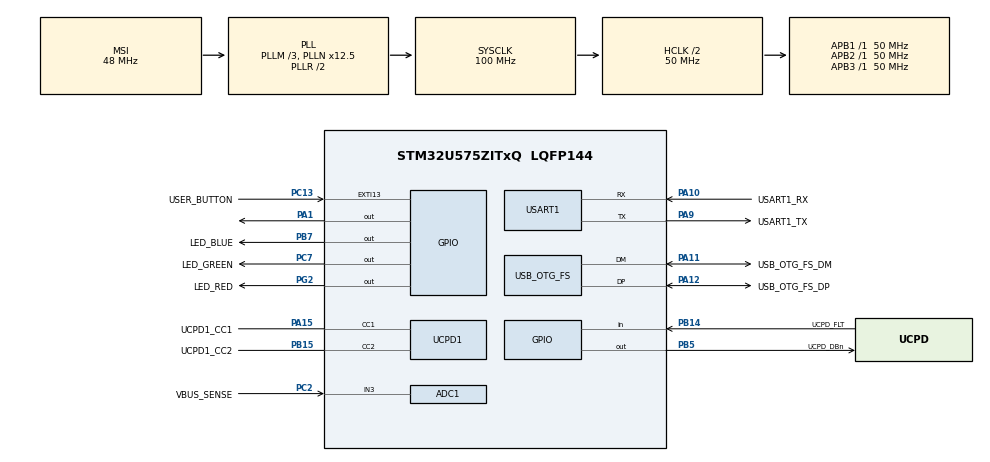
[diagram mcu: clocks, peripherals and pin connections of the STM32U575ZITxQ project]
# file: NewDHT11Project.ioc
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ADC1.NbrOfConversion=1
ADC1.Resolution=ADC_RESOLUTION_14B
ADC1.master=1
CORTEX_M33_NS.userName=CORTEX_M33
Mcu.Family=STM32U5
Mcu.Name=STM32U575ZITxQ
Mcu.Package=LQFP144
NVIC.OTG_FS_IRQn=true\:0\:0\:false\:false\:true\:true\:true\:true
NVIC.PriorityGroup=NVIC_PRIORITYGROUP_3
PA1.Signal=GPIO_Output
PA10.GPIO_Label=USART1_RX
PA10.GPIO_PuPd=GPIO_PULLDOWN
PA10.GPIO_Speed=GPIO_SPEED_FREQ_VERY_HIGH
PA10.Mode=Asynchronous
PA10.Signal=USART1_RX
PA11.GPIO_Label=USB_OTG_FS_DM
PA11.GPIO_Speed=GPIO_SPEED_FREQ_VERY_HIGH
PA11.Mode=Device_Only
PA11.Signal=USB_OTG_FS_DM
PA12.GPIO_Label=USB_OTG_FS_DP
PA12.GPIO_Speed=GPIO_SPEED_FREQ_VERY_HIGH
PA12.Mode=Device_Only
PA12.Signal=USB_OTG_FS_DP
PA13\ (JTMS/SWDIO).Mode=Trace_Asynchronous_SW
PA13\ (JTMS/SWDIO).Signal=DEBUG_JTMS-SWDIO
PA14\ (JTCK/SWCLK).Mode=Trace_Asynchronous_SW
PA14\ (JTCK/SWCLK).Signal=DEBUG_JTCK-SWCLK
PA15\ (JTDI).GPIO_Label=UCPD1_CC1
PA15\ (JTDI).Mode=Sink_AllSignals
PA15\ (JTDI).Signal=UCPD1_CC1
PA9.GPIO_Label=USART1_TX
PA9.GPIO_PuPd=GPIO_PULLDOWN
PA9.GPIO_Speed=GPIO_SPEED_FREQ_VERY_HIGH
PA9.Mode=Asynchronous
PA9.Signal=USART1_TX
PB14.GPIO_Label=UCPD_FLT
PB14.Signal=GPIO_Input
PB15.GPIO_Label=UCPD1_CC2
PB15.Mode=Sink_AllSignals
PB15.Signal=UCPD1_CC2
PB3\ (JTDO/TRACESWO).Mode=Trace_Asynchronous_SW
PB3\ (JTDO/TRACESWO).Signal=DEBUG_JTDO-SWO
PB5.GPIO_Label=UCPD_DBn
PB5.Signal=GPIO_Output
PB7.GPIO_Label=LED_BLUE
PB7.GPIO_ModeDefaultOutputPP=GPIO_MODE_OUTPUT_PP
PB7.GPIO_PuPd=GPIO_PULLUP
PB7.GPIO_Speed=GPIO_SPEED_FREQ_HIGH
PB7.Signal=GPIO_Output
PC13.GPIO_Label=USER_BUTTON
PC13.GPIO_ModeDefaultEXTI=GPIO_MODE_IT_FALLING
PC13.Signal=GPXTI13
PC14-OSC32_IN\ (PC14).Signal=RCC_OSC32_IN
PC15-OSC32_OUT\ (PC15).Signal=RCC_OSC32_OUT
PC2.GPIO_Label=VBUS_SENSE
PC2.Mode=IN3-Single-Ended
PC2.Signal=ADC1_IN3
PC7.GPIO_Label=LED_GREEN
PC7.GPIO_PuPd=GPIO_PULLUP
PC7.GPIO_Speed=GPIO_SPEED_FREQ_HIGH
PC7.Signal=GPIO_Output
PG2.GPIO_Label=LED_RED
PG2.GPIO_ModeDefaultOutputPP=GPIO_MODE_OUTPUT_PP
PG2.GPIO_PuPd=GPIO_PULLUP
PG2.GPIO_Speed=GPIO_SPEED_FREQ_HIGH
PG2.Signal=GPIO_Output
PH0-OSC_IN\ (PH0).Mode=HSE-External-Oscillator
PH0-OSC_IN\ (PH0).Signal=RCC_OSC_IN
PH1-OSC_OUT\ (PH1).Mode=HSE-External-Oscillator
PH1-OSC_OUT\ (PH1).Signal=RCC_OSC_OUT
PWR.PowerMode=PWR_SMPS_SUPPLY
ProjectManager.HeapSize=0x200
ProjectManager.StackSize=0x400
ProjectManager.TargetToolchain=STM32CubeIDE
RCC.ADCFreq_Value=16000000
RCC.AHBCLKDivider=RCC_SYSCLK_DIV2
RCC.AHBFreq_Value=50000000
RCC.APB1Freq_Value=50000000
RCC.APB1TimFreq_Value=50000000
RCC.APB2Freq_Value=50000000
RCC.APB2TimFreq_Value=50000000
RCC.APB3Freq_Value=50000000
RCC.CortexFreq_Value=50000000
RCC.DACCLockSelectionVirtual=RCC_DAC1CLKSOURCE_LSI
RCC.EPOD_VALUE=48000000
RCC.HCLKFreq_Value=50000000
RCC.HSE_VALUE=16000000
RCC.HSI48_VALUE=48000000
RCC.HSI_VALUE=16000000
RCC.LSIDIV_VALUE=32000
RCC.MSIClockRange=RCC_MSIRANGE_0
RCC.MSI_VALUE=48000000
RCC.PLLFRACN=4096
RCC.PLLM=3
RCC.PLLN=12
RCC.SYSCLKFreq_VALUE=100000000
RCC.SYSCLKSource=RCC_SYSCLKSOURCE_PLLCLK
RCC.USBFreq_Value=48000000
RCC.VCOOutputFreq_Value=200000000
TIM1.Prescaler=49
USART1.VirtualMode-Asynchronous=VM_ASYNC
USB_OTG_FS.VirtualMode=Device_Only
VP_ICACHE_VS_ENABLE_ICACHE_MEMORY.Mode=Memoryregions
VP_ICACHE_VS_ICACHE.Mode=DirectMappedCache
VP_LPBAMQUEUE_VS_QUEUE.Mode=QUEUEMODE
VP_LPBAM_VS_SIG1.Mode=SmartRun
VP_LPBAM_VS_SIG4.Mode=LPDMA1
VP_MEMORYMAP_VS_MEMORYMAP.Mode=CurAppReg
VP_PWR_VS_DBSignals.Mode=DisableDeadBatterySignals
VP_PWR_VS_LPOM.Mode=PowerOptimisation
VP_PWR_VS_SECSignals.Mode=Security/Privilege
VP_PWR_Vdda.Mode=isolationVdda
VP_TIM1_VS_ClockSourceINT.Mode=Internal
board=NUCLEO-U575ZI-Q

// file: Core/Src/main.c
/* USER CODE BEGIN Header */
/**
  ******************************************************************************
  * @file           : main.c
  * @brief          : Main program body
  ******************************************************************************
  * @attention
  *
  * Copyright (c) 2024 STMicroelectronics.
  * All rights reserved.
  *
  * This software is licensed under terms that can be found in the LICENSE file
  * in the root directory of this software component.
  * If no LICENSE file comes with this software, it is provided AS-IS.
  *
  ******************************************************************************
  */
/* USER CODE END Header */
#include "main.h"

/* USER CODE BEGIN PD */
#define DHT11_PORT GPIOA
#define DHT11_PIN GPIO_PIN_1
/* USER CODE END PD */

ADC_HandleTypeDef hadc1;

TIM_HandleTypeDef htim1;

UART_HandleTypeDef huart1;

PCD_HandleTypeDef hpcd_USB_OTG_FS;

/* USER CODE BEGIN PV */
uint8_t Rh_byte1, Rh_byte2, Temp_byte1, Temp_byte2;
uint16_t SUM, RH, TEMP;

float Temperature = 0;
float Humidity = 0;
uint8_t Presence = 0;
char strCopy[15];
/* USER CODE END PV */

void SystemClock_Config(void);
static void SystemPower_Config(void);
static void MX_GPIO_Init(void);
static void MX_ADC1_Init(void);
static void MX_ICACHE_Init(void);
static void MX_UCPD1_Init(void);
static void MX_USART1_UART_Init(void);
static void MX_USB_OTG_FS_PCD_Init(void);
static void MX_TIM1_Init(void);
/* USER CODE BEGIN PFP */
/* Retargets the C library printf function to the USART. */
#include <stdio.h>
#ifdef __GNUC__
int __io_putchar(int ch)
#else
int fputc(int ch, FILE *f)
#endif
{
    HAL_UART_Transmit(&huart1, (uint8_t *)&ch, 1, 0xFFFF);

    return ch;
}
#ifdef __GNUC__
int _write(int file,char *ptr, int len)
{
    int DataIdx;
    for (DataIdx= 0; DataIdx< len; DataIdx++) {
        __io_putchar(*ptr++);
    }
    return len;
}
#endif
/* USER CODE END PFP */

/* USER CODE BEGIN 0 */
void delay (uint16_t time)
{
	/* change your code here for the delay in microseconds */
	__HAL_TIM_SET_COUNTER(&htim1, 0);
	while ((__HAL_TIM_GET_COUNTER(&htim1))<time);
}
void Set_Pin_Output (GPIO_TypeDef *GPIOx, uint16_t GPIO_Pin)
{
	GPIO_InitTypeDef GPIO_InitStruct = {0};
	GPIO_InitStruct.Pin = GPIO_Pin;
	GPIO_InitStruct.Mode = GPIO_MODE_OUTPUT_PP;
	GPIO_InitStruct.Speed = GPIO_SPEED_FREQ_LOW;
	HAL_GPIO_Init(GPIOx, &GPIO_InitStruct);
}

void Set_Pin_Input (GPIO_TypeDef *GPIOx, uint16_t GPIO_Pin)
{
	GPIO_InitTypeDef GPIO_InitStruct = {0};
	GPIO_InitStruct.Pin = GPIO_Pin;
	GPIO_InitStruct.Mode = GPIO_MODE_INPUT;
	GPIO_InitStruct.Pull = GPIO_PULLUP;
	HAL_GPIO_Init(GPIOx, &GPIO_InitStruct);
}
void DHT11_Start (void)
{
	Set_Pin_Output (DHT11_PORT, DHT11_PIN);  // set the pin as output
	HAL_GPIO_WritePin (DHT11_PORT, DHT11_PIN, 0);   // pull the pin low
	delay (18000);   // wait for 18ms
    HAL_GPIO_WritePin (DHT11_PORT, DHT11_PIN, 1);   // pull the pin high
	delay (20);   // wait for 20us
	Set_Pin_Input(DHT11_PORT, DHT11_PIN);    // set as input
//	printf("End of DHT11_Start()\r\n");
}

uint8_t DHT11_Read (void)
{
	printf("I am in DHT11_Read()\r\n");
	uint8_t i,j;
	for (j=0;j<8;j++)
	{
		printf("waiting for the pin to go high\r\n");
		while (!(HAL_GPIO_ReadPin (DHT11_PORT, DHT11_PIN)));   // wait for the pin to go high
		delay (40);   // wait for 40 us
		if (!(HAL_GPIO_ReadPin (DHT11_PORT, DHT11_PIN)))   // if the pin is low
		{
			i&= ~(1<<(7-j));   // write 0
			printf("The pin is low\r\n");
		}
		else {i|= (1<<(7-j)); printf("The pin is high\r\n");} // if the pin is high, write 1
		while ((HAL_GPIO_ReadPin (DHT11_PORT, DHT11_PIN)));  // wait for the pin to go low
		printf("The pin has gone low\r\n");
	}
	printf("Value of i: %d\r\n", i);
	return i;
}
uint8_t DHT11_Check_Response (void)
{
	uint8_t Response = 0;
	delay (40);
	if (!(HAL_GPIO_ReadPin (DHT11_PORT, DHT11_PIN)))
	{
		printf("I'm in DHT11_Check_Response\r\n");
		delay (80);
		if ((HAL_GPIO_ReadPin (DHT11_PORT, DHT11_PIN))) {Response = 1; printf("Response = 1\r\n");}
		else {Response = -1; printf("Response = -1\r\n");}// 255
	}

	while ((HAL_GPIO_ReadPin (DHT11_PORT, DHT11_PIN)));   // wait for the pin to go low

	return Response;
}
/* USER CODE END 0 */

int main(void)
{

  /* MCU Configuration--------------------------------------------------------*/

  /* Reset of all peripherals, Initializes the Flash interface and the Systick. */
  HAL_Init();

  /* USER CODE BEGIN Init */
  /* Turn off buffers, so I/O occurs immediately */
  setvbuf(stdin, NULL, _IONBF, 0);
  setvbuf(stdout, NULL, _IONBF, 0);
  setvbuf(stderr, NULL, _IONBF, 0);

  /* USER CODE END Init */

  /* Configure the system clock */
  SystemClock_Config();

  /* Configure the System Power */
  SystemPower_Config();

  /* Initialize all configured peripherals */
  MX_GPIO_Init();
  MX_ADC1_Init();
  MX_ICACHE_Init();
  MX_UCPD1_Init();
  MX_USART1_UART_Init();
  MX_USB_OTG_FS_PCD_Init();
  MX_TIM1_Init();
  /* USER CODE BEGIN 2 */
	char msg[50] = "Ciao, benvenuto nello smart temperature reader.";
	char msg2[50] = "ciao a tutti";
	uint32_t timerValue;
	HAL_TIM_Base_Start(&htim1);

	/* USER CODE END 2 */

	/* Infinite loop */
	/* USER CODE BEGIN WHILE */
	HAL_UART_Transmit(&huart1, (uint8_t*) msg, strlen(msg), HAL_MAX_DELAY);
  while (1)
  {
    /* USER CODE END WHILE */

    /* USER CODE BEGIN 3 */
	  printf("Calling DHT11_Start()...\r\n");
		DHT11_Start();
		Presence = DHT11_Check_Response();
		printf("Presence: %d\r\n", Presence);
		Rh_byte1 = DHT11_Read();
		Rh_byte2 = DHT11_Read();
		Temp_byte1 = DHT11_Read();
		Temp_byte2 = DHT11_Read();
		SUM = DHT11_Read();
		snprintf(msg, sizeof(msg), "Temperature in HABES Lab: %u\r\n",
				Temp_byte1);
		// Formatta il messaggio da inviare
		HAL_UART_Transmit(&huart1, (uint8_t*) msg, strlen(msg), HAL_MAX_DELAY);
		snprintf(msg2, sizeof(msg2), "Humidity in HABES Lab: %u\r\n", Rh_byte1);
		// Formatta il messaggio da inviare
		HAL_UART_Transmit(&huart1, (uint8_t*) msg2, strlen(msg2),
				HAL_MAX_DELAY);
		HAL_Delay(1000);
  }
  /* USER CODE END 3 */
}

void SystemClock_Config(void)
{
  RCC_OscInitTypeDef RCC_OscInitStruct = {0};
  RCC_ClkInitTypeDef RCC_ClkInitStruct = {0};

  /** Configure the main internal regulator output voltage
  */
  if (HAL_PWREx_ControlVoltageScaling(PWR_REGULATOR_VOLTAGE_SCALE2) != HAL_OK)
  {
    Error_Handler();
  }

  /** Initializes the CPU, AHB and APB buses clocks
  */
  RCC_OscInitStruct.OscillatorType = RCC_OSCILLATORTYPE_HSI48|RCC_OSCILLATORTYPE_HSI
                              |RCC_OSCILLATORTYPE_MSI;
  RCC_OscInitStruct.HSIState = RCC_HSI_ON;
  RCC_OscInitStruct.HSI48State = RCC_HSI48_ON;
  RCC_OscInitStruct.HSICalibrationValue = RCC_HSICALIBRATION_DEFAULT;
  RCC_OscInitStruct.MSIState = RCC_MSI_ON;
  RCC_OscInitStruct.MSICalibrationValue = RCC_MSICALIBRATION_DEFAULT;
  RCC_OscInitStruct.MSIClockRange = RCC_MSIRANGE_0;
  RCC_OscInitStruct.PLL.PLLState = RCC_PLL_ON;
  RCC_OscInitStruct.PLL.PLLSource = RCC_PLLSOURCE_MSI;
  RCC_OscInitStruct.PLL.PLLMBOOST = RCC_PLLMBOOST_DIV4;
  RCC_OscInitStruct.PLL.PLLM = 3;
  RCC_OscInitStruct.PLL.PLLN = 12;
  RCC_OscInitStruct.PLL.PLLP = 2;
  RCC_OscInitStruct.PLL.PLLQ = 2;
  RCC_OscInitStruct.PLL.PLLR = 2;
  RCC_OscInitStruct.PLL.PLLRGE = RCC_PLLVCIRANGE_1;
  RCC_OscInitStruct.PLL.PLLFRACN = 4096;
  if (HAL_RCC_OscConfig(&RCC_OscInitStruct) != HAL_OK)
  {
    Error_Handler();
  }

  /** Initializes the CPU, AHB and APB buses clocks
  */
  RCC_ClkInitStruct.ClockType = RCC_CLOCKTYPE_HCLK|RCC_CLOCKTYPE_SYSCLK
                              |RCC_CLOCKTYPE_PCLK1|RCC_CLOCKTYPE_PCLK2
                              |RCC_CLOCKTYPE_PCLK3;
  RCC_ClkInitStruct.SYSCLKSource = RCC_SYSCLKSOURCE_PLLCLK;
  RCC_ClkInitStruct.AHBCLKDivider = RCC_SYSCLK_DIV2;
  RCC_ClkInitStruct.APB1CLKDivider = RCC_HCLK_DIV1;
  RCC_ClkInitStruct.APB2CLKDivider = RCC_HCLK_DIV1;
  RCC_ClkInitStruct.APB3CLKDivider = RCC_HCLK_DIV1;

  if (HAL_RCC_ClockConfig(&RCC_ClkInitStruct, FLASH_LATENCY_1) != HAL_OK)
  {
    Error_Handler();
  }
}

/**
  * @brief Power Configuration
  * @retval None
  */
static void SystemPower_Config(void)
{
  HAL_PWREx_EnableVddIO2();

  /*
   * Switch to SMPS regulator instead of LDO
   */
  if (HAL_PWREx_ConfigSupply(PWR_SMPS_SUPPLY) != HAL_OK)
  {
    Error_Handler();
  }
}

static void MX_ADC1_Init(void)
{

  /** Common config
  */
  hadc1.Instance = ADC1;
  hadc1.Init.ClockPrescaler = ADC_CLOCK_ASYNC_DIV1;
  hadc1.Init.Resolution = ADC_RESOLUTION_14B;
  hadc1.Init.GainCompensation = 0;
  hadc1.Init.ScanConvMode = ADC_SCAN_DISABLE;
  hadc1.Init.EOCSelection = ADC_EOC_SINGLE_CONV;
  hadc1.Init.LowPowerAutoWait = DISABLE;
  hadc1.Init.ContinuousConvMode = DISABLE;
  hadc1.Init.NbrOfConversion = 1;
  hadc1.Init.DiscontinuousConvMode = DISABLE;
  hadc1.Init.DMAContinuousRequests = DISABLE;
  hadc1.Init.TriggerFrequencyMode = ADC_TRIGGER_FREQ_HIGH;
  hadc1.Init.Overrun = ADC_OVR_DATA_PRESERVED;
  hadc1.Init.LeftBitShift = ADC_LEFTBITSHIFT_NONE;
  hadc1.Init.ConversionDataManagement = ADC_CONVERSIONDATA_DR;
  hadc1.Init.OversamplingMode = DISABLE;
  if (HAL_ADC_Init(&hadc1) != HAL_OK)
  {
    Error_Handler();
  }

}

static void MX_ICACHE_Init(void)
{

  /** Enable instruction cache in 1-way (direct mapped cache)
  */
  if (HAL_ICACHE_ConfigAssociativityMode(ICACHE_1WAY) != HAL_OK)
  {
    Error_Handler();
  }
  if (HAL_ICACHE_Enable() != HAL_OK)
  {
    Error_Handler();
  }

}

static void MX_TIM1_Init(void)
{

  TIM_ClockConfigTypeDef sClockSourceConfig = {0};
  TIM_MasterConfigTypeDef sMasterConfig = {0};

  htim1.Instance = TIM1;
  htim1.Init.Prescaler = 49;
  htim1.Init.CounterMode = TIM_COUNTERMODE_UP;
  htim1.Init.Period = 65535;
  htim1.Init.ClockDivision = TIM_CLOCKDIVISION_DIV1;
  htim1.Init.RepetitionCounter = 0;
  htim1.Init.AutoReloadPreload = TIM_AUTORELOAD_PRELOAD_DISABLE;
  if (HAL_TIM_Base_Init(&htim1) != HAL_OK)
  {
    Error_Handler();
  }
  sClockSourceConfig.ClockSource = TIM_CLOCKSOURCE_INTERNAL;
  if (HAL_TIM_ConfigClockSource(&htim1, &sClockSourceConfig) != HAL_OK)
  {
    Error_Handler();
  }
  sMasterConfig.MasterOutputTrigger = TIM_TRGO_RESET;
  sMasterConfig.MasterOutputTrigger2 = TIM_TRGO2_RESET;
  sMasterConfig.MasterSlaveMode = TIM_MASTERSLAVEMODE_DISABLE;
  if (HAL_TIMEx_MasterConfigSynchronization(&htim1, &sMasterConfig) != HAL_OK)
  {
    Error_Handler();
  }

}

static void MX_UCPD1_Init(void)
{

  LL_GPIO_InitTypeDef GPIO_InitStruct = {0};

  /* Peripheral clock enable */
  LL_APB1_GRP2_EnableClock(LL_APB1_GRP2_PERIPH_UCPD1);

  LL_AHB2_GRP1_EnableClock(LL_AHB2_GRP1_PERIPH_GPIOB);
  LL_AHB2_GRP1_EnableClock(LL_AHB2_GRP1_PERIPH_GPIOA);
  /**UCPD1 GPIO Configuration
  PB15   ------> UCPD1_CC2
  PA15 (JTDI)   ------> UCPD1_CC1
  */
  GPIO_InitStruct.Pin = LL_GPIO_PIN_15;
  GPIO_InitStruct.Mode = LL_GPIO_MODE_ANALOG;
  GPIO_InitStruct.Pull = LL_GPIO_PULL_NO;
  LL_GPIO_Init(GPIOB, &GPIO_InitStruct);

  GPIO_InitStruct.Pin = LL_GPIO_PIN_15;
  GPIO_InitStruct.Mode = LL_GPIO_MODE_ANALOG;
  GPIO_InitStruct.Pull = LL_GPIO_PULL_NO;
  LL_GPIO_Init(GPIOA, &GPIO_InitStruct);

}

static void MX_USART1_UART_Init(void)
{

  huart1.Instance = USART1;
  huart1.Init.BaudRate = 115200;
  huart1.Init.WordLength = UART_WORDLENGTH_8B;
  huart1.Init.StopBits = UART_STOPBITS_1;
  huart1.Init.Parity = UART_PARITY_NONE;
  huart1.Init.Mode = UART_MODE_TX_RX;
  huart1.Init.HwFlowCtl = UART_HWCONTROL_NONE;
  huart1.Init.OverSampling = UART_OVERSAMPLING_16;
  huart1.Init.OneBitSampling = UART_ONE_BIT_SAMPLE_DISABLE;
  huart1.Init.ClockPrescaler = UART_PRESCALER_DIV1;
  huart1.AdvancedInit.AdvFeatureInit = UART_ADVFEATURE_NO_INIT;
  if (HAL_UART_Init(&huart1) != HAL_OK)
  {
    Error_Handler();
  }
  if (HAL_UARTEx_SetTxFifoThreshold(&huart1, UART_TXFIFO_THRESHOLD_1_8) != HAL_OK)
  {
    Error_Handler();
  }
  if (HAL_UARTEx_SetRxFifoThreshold(&huart1, UART_RXFIFO_THRESHOLD_1_8) != HAL_OK)
  {
    Error_Handler();
  }
  if (HAL_UARTEx_DisableFifoMode(&huart1) != HAL_OK)
  {
    Error_Handler();
  }

}

static void MX_USB_OTG_FS_PCD_Init(void)
{

  hpcd_USB_OTG_FS.Instance = USB_OTG_FS;
  hpcd_USB_OTG_FS.Init.dev_endpoints = 6;
  hpcd_USB_OTG_FS.Init.speed = PCD_SPEED_FULL;
  hpcd_USB_OTG_FS.Init.phy_itface = PCD_PHY_EMBEDDED;
  hpcd_USB_OTG_FS.Init.Sof_enable = DISABLE;
  hpcd_USB_OTG_FS.Init.low_power_enable = DISABLE;
  hpcd_USB_OTG_FS.Init.lpm_enable = DISABLE;
  hpcd_USB_OTG_FS.Init.battery_charging_enable = DISABLE;
  hpcd_USB_OTG_FS.Init.use_dedicated_ep1 = DISABLE;
  hpcd_USB_OTG_FS.Init.vbus_sensing_enable = DISABLE;
  hpcd_USB_OTG_FS.Init.dma_enable = DISABLE;
  if (HAL_PCD_Init(&hpcd_USB_OTG_FS) != HAL_OK)
  {
    Error_Handler();
  }

}

static void MX_GPIO_Init(void)
{
  GPIO_InitTypeDef GPIO_InitStruct = {0};

  /* GPIO Ports Clock Enable */
  __HAL_RCC_GPIOC_CLK_ENABLE();
  __HAL_RCC_GPIOH_CLK_ENABLE();
  __HAL_RCC_GPIOA_CLK_ENABLE();
  __HAL_RCC_GPIOB_CLK_ENABLE();
  __HAL_RCC_GPIOG_CLK_ENABLE();

  /*Configure GPIO pin Output Level */
  HAL_GPIO_WritePin(GPIOA, GPIO_PIN_1, GPIO_PIN_RESET);

  /*Configure GPIO pin Output Level */
  HAL_GPIO_WritePin(LED_RED_GPIO_Port, LED_RED_Pin, GPIO_PIN_RESET);

  /*Configure GPIO pin Output Level */
  HAL_GPIO_WritePin(LED_GREEN_GPIO_Port, LED_GREEN_Pin, GPIO_PIN_RESET);

  /*Configure GPIO pin Output Level */
  HAL_GPIO_WritePin(GPIOB, UCPD_DBn_Pin|LED_BLUE_Pin, GPIO_PIN_RESET);

  /*Configure GPIO pin : USER_BUTTON_Pin */
  GPIO_InitStruct.Pin = USER_BUTTON_Pin;
  GPIO_InitStruct.Mode = GPIO_MODE_IT_FALLING;
  GPIO_InitStruct.Pull = GPIO_NOPULL;
  HAL_GPIO_Init(USER_BUTTON_GPIO_Port, &GPIO_InitStruct);

  /*Configure GPIO pin : PA1 */
  GPIO_InitStruct.Pin = GPIO_PIN_1;
  GPIO_InitStruct.Mode = GPIO_MODE_OUTPUT_PP;
  GPIO_InitStruct.Pull = GPIO_NOPULL;
  GPIO_InitStruct.Speed = GPIO_SPEED_FREQ_LOW;
  HAL_GPIO_Init(GPIOA, &GPIO_InitStruct);

  /*Configure GPIO pin : UCPD_FLT_Pin */
  GPIO_InitStruct.Pin = UCPD_FLT_Pin;
  GPIO_InitStruct.Mode = GPIO_MODE_INPUT;
  GPIO_InitStruct.Pull = GPIO_NOPULL;
  HAL_GPIO_Init(UCPD_FLT_GPIO_Port, &GPIO_InitStruct);

  /*Configure GPIO pin : LED_RED_Pin */
  GPIO_InitStruct.Pin = LED_RED_Pin;
  GPIO_InitStruct.Mode = GPIO_MODE_OUTPUT_PP;
  GPIO_InitStruct.Pull = GPIO_PULLUP;
  GPIO_InitStruct.Speed = GPIO_SPEED_FREQ_HIGH;
  HAL_GPIO_Init(LED_RED_GPIO_Port, &GPIO_InitStruct);

  /*Configure GPIO pin : LED_GREEN_Pin */
  GPIO_InitStruct.Pin = LED_GREEN_Pin;
  GPIO_InitStruct.Mode = GPIO_MODE_OUTPUT_PP;
  GPIO_InitStruct.Pull = GPIO_PULLUP;
  GPIO_InitStruct.Speed = GPIO_SPEED_FREQ_HIGH;
  HAL_GPIO_Init(LED_GREEN_GPIO_Port, &GPIO_InitStruct);

  /*Configure GPIO pin : UCPD_DBn_Pin */
  GPIO_InitStruct.Pin = UCPD_DBn_Pin;
  GPIO_InitStruct.Mode = GPIO_MODE_OUTPUT_PP;
  GPIO_InitStruct.Pull = GPIO_NOPULL;
  GPIO_InitStruct.Speed = GPIO_SPEED_FREQ_LOW;
  HAL_GPIO_Init(UCPD_DBn_GPIO_Port, &GPIO_InitStruct);

  /*Configure GPIO pin : LED_BLUE_Pin */
  GPIO_InitStruct.Pin = LED_BLUE_Pin;
  GPIO_InitStruct.Mode = GPIO_MODE_OUTPUT_PP;
  GPIO_InitStruct.Pull = GPIO_PULLUP;
  GPIO_InitStruct.Speed = GPIO_SPEED_FREQ_HIGH;
  HAL_GPIO_Init(LED_BLUE_GPIO_Port, &GPIO_InitStruct);

}

void Error_Handler(void)
{
  __disable_irq();
  while (1)
  {
  }
}
